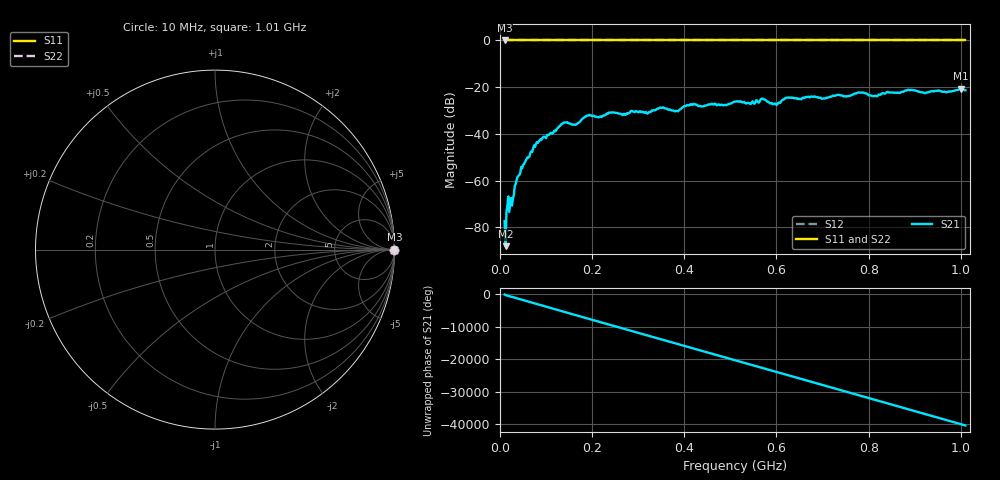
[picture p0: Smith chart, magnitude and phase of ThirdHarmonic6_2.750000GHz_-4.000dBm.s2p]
! 8/17/2025 6:52:25 AM
! C:\ANRITSUVNA\TEMP\TEMP.S2P
! CHANNEL.1
! TR.MEASUREMENT
! RAW.DATA
! RF.CORRECTION.OFF
! AVERAGING.OFF
! IF.BANDWIDTH: 5KHZ
! SWEEPTYPE:  FREQ.SWEEP(Linear)
! Reference Plane Port Info
! PORT:  PORT1  PORT2
! DISTANCE:  0  m  0  m
! TIME:  0  s  0  s
! PHASE.OFFSET:  0  deg.  0  deg.
! LOSS:  0  dB  0  dB
! REF.LOSS:  0  dB  0  dB
! REF.FREQ:  0  Hz  0  Hz
! Power Info
! POWER:  -20  dBm  -20  dBm
! EFF.POWER:  -20  dBm  -20  dBm
! SOURCE.ATTEN:  0  dB  0  dB
! TEST.ATTEN:  0  dB  0  dB
# GHZ S RI R 50.0
! FREQ.GHZ  S11RE  S11IM  S21RE  S21IM  S12RE  S12IM  S22RE  S22IM
!; PortSelection: Port_12
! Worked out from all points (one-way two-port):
!   501 points, 10 MHz to 1.01 GHz, reference 50 ohm
!   highest |S21| = -20.62 dB at 1 GHz (marker M1); lowest = -88.0 dB at 12 MHz (marker M2)
!   lowest |S11| = 0.0 dB at 10 MHz (marker M3)
!   |S11| at or under -10 dB: nowhere
!   |S22| runs from 0.0 to 0.0 dB; largest |S21 - S12| = 1.1
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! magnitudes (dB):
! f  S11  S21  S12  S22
! 10 MHz  0.0  -77.3  0.0  0.0
! 12 MHz  0.0  -88.0  0.0  0.0
! 20 MHz  0.0  -73.4  0.0  0.0
! 24 MHz  0.0  -67.4  0.0  0.0
! 36 MHz  0.0  -59.7  0.0  0.0
! 42 MHz  0.0  -57.6  0.0  0.0
! 76 MHz  0.0  -45.5  0.0  0.0
! 136 MHz  0.0  -35.5  0.0  0.0
! 164 MHz  0.0  -36.1  0.0  0.0
! 178 MHz  0.0  -33.6  0.0  0.0
! 192 MHz  0.0  -32.0  0.0  0.0
! 344 MHz  0.0  -29.1  0.0  0.0
! 382 MHz  0.0  -30.1  0.0  0.0
! 410 MHz  0.0  -27.8  0.0  0.0
! 510 MHz  0.0  -26.2  0.0  0.0
! 570 MHz  0.0  -24.9  0.0  0.0
! 598 MHz  0.0  -27.0  0.0  0.0
! 622 MHz  0.0  -24.5  0.0  0.0
! 678 MHz  0.0  -24.1  0.0  0.0
! 844 MHz  0.0  -22.2  0.0  0.0
! 1 GHz  0.0  -20.6  0.0  0.0
! 1.01 GHz  0.0  -21.3  0.0  0.0
